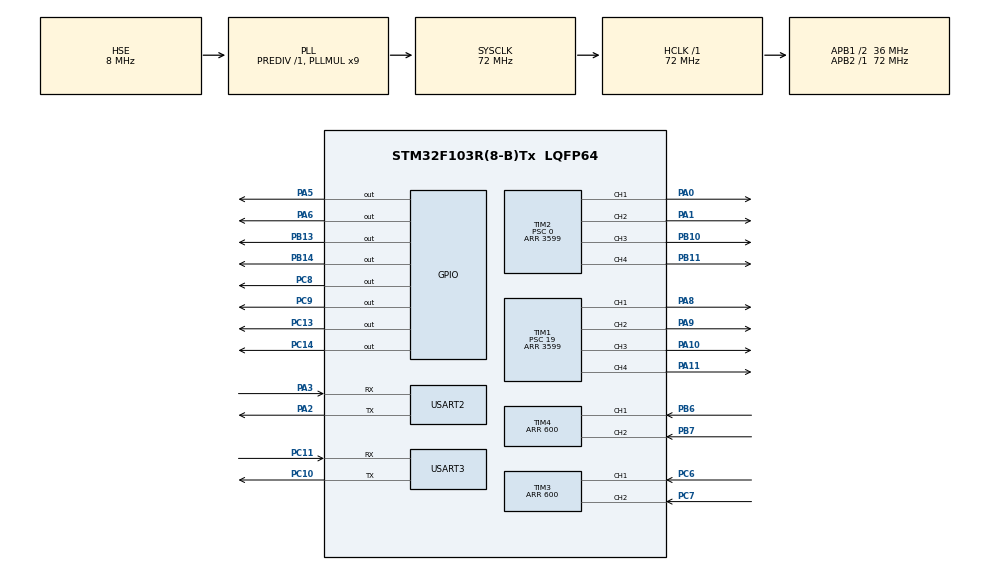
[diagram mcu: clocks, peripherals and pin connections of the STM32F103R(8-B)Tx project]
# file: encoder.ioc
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Mcu.Family=STM32F1
Mcu.Name=STM32F103R(8-B)Tx
Mcu.Package=LQFP64
NVIC.PriorityGroup=NVIC_PRIORITYGROUP_4
NVIC.TIM3_IRQn=true\:0\:0\:true\:false\:true\:true\:true\:true
NVIC.USART2_IRQn=true\:1\:0\:false\:false\:true\:true\:true\:true
NVIC.USART3_IRQn=true\:1\:0\:false\:false\:true\:true\:true\:true
PA0-WKUP.Signal=S_TIM2_CH1_ETR
PA1.Signal=S_TIM2_CH2
PA10.Signal=S_TIM1_CH3
PA11.Signal=S_TIM1_CH4
PA13.Mode=Serial_Wire
PA13.Signal=SYS_JTMS-SWDIO
PA14.Mode=Serial_Wire
PA14.Signal=SYS_JTCK-SWCLK
PA2.Mode=Asynchronous
PA2.Signal=USART2_TX
PA3.Mode=Asynchronous
PA3.Signal=USART2_RX
PA5.Signal=GPIO_Output
PA6.Signal=GPIO_Output
PA8.Signal=S_TIM1_CH1
PA9.Signal=S_TIM1_CH2
PB10.Signal=S_TIM2_CH3
PB11.Signal=S_TIM2_CH4
PB13.Signal=GPIO_Output
PB14.Signal=GPIO_Output
PB6.GPIO_PuPd=GPIO_PULLUP
PB6.Signal=S_TIM4_CH1
PB7.GPIO_PuPd=GPIO_PULLUP
PB7.Signal=S_TIM4_CH2
PC10.Mode=Asynchronous
PC10.Signal=USART3_TX
PC11.Mode=Asynchronous
PC11.Signal=USART3_RX
PC13-TAMPER-RTC.Signal=GPIO_Output
PC14-OSC32_IN.Signal=GPIO_Output
PC6.GPIO_PuPd=GPIO_PULLUP
PC6.Signal=S_TIM3_CH1
PC7.GPIO_PuPd=GPIO_PULLUP
PC7.Signal=S_TIM3_CH2
PC8.Signal=GPIO_Output
PC9.Signal=GPIO_Output
PD0-OSC_IN.Mode=HSE-External-Clock-Source
PD0-OSC_IN.Signal=RCC_OSC_IN
PD1-OSC_OUT.Mode=HSE-External-Clock-Source
PD1-OSC_OUT.Signal=RCC_OSC_OUT
ProjectManager.HeapSize=0x200
ProjectManager.StackSize=0x400
ProjectManager.TargetToolchain=STM32CubeIDE
RCC.AHBFreq_Value=72000000
RCC.APB1CLKDivider=RCC_HCLK_DIV2
RCC.APB1Freq_Value=36000000
RCC.APB1TimFreq_Value=72000000
RCC.APB2Freq_Value=72000000
RCC.APB2TimFreq_Value=72000000
RCC.EnbaleCSS=true
RCC.HCLKFreq_Value=72000000
RCC.PLLMUL=RCC_PLL_MUL9
RCC.PLLSourceVirtual=RCC_PLLSOURCE_HSE
RCC.SYSCLKFreq_VALUE=72000000
RCC.SYSCLKSource=RCC_SYSCLKSOURCE_PLLCLK
RCC.USBFreq_Value=72000000
SH.S_TIM1_CH1.0=TIM1_CH1,PWM Generation1 CH1
SH.S_TIM1_CH2.0=TIM1_CH2,PWM Generation2 CH2
SH.S_TIM1_CH3.0=TIM1_CH3,PWM Generation3 CH3
SH.S_TIM1_CH4.0=TIM1_CH4,PWM Generation4 CH4
SH.S_TIM2_CH1_ETR.0=TIM2_CH1,PWM Generation1 CH1
SH.S_TIM2_CH2.0=TIM2_CH2,PWM Generation2 CH2
SH.S_TIM2_CH3.0=TIM2_CH3,PWM Generation3 CH3
SH.S_TIM2_CH4.0=TIM2_CH4,PWM Generation4 CH4
SH.S_TIM3_CH1.0=TIM3_CH1,Encoder_Interface
SH.S_TIM3_CH2.0=TIM3_CH2,Encoder_Interface
SH.S_TIM4_CH1.0=TIM4_CH1,Encoder_Interface
SH.S_TIM4_CH2.0=TIM4_CH2,Encoder_Interface
TIM1.Channel-PWM\ Generation1\ CH1=TIM_CHANNEL_1
TIM1.Channel-PWM\ Generation2\ CH2=TIM_CHANNEL_2
TIM1.Channel-PWM\ Generation3\ CH3=TIM_CHANNEL_3
TIM1.Channel-PWM\ Generation4\ CH4=TIM_CHANNEL_4
TIM1.Period=3599
TIM1.Prescaler=19
TIM1.Pulse-PWM\ Generation1\ CH1=0
TIM2.Channel-PWM\ Generation1\ CH1=TIM_CHANNEL_1
TIM2.Channel-PWM\ Generation2\ CH2=TIM_CHANNEL_2
TIM2.Channel-PWM\ Generation3\ CH3=TIM_CHANNEL_3
TIM2.Channel-PWM\ Generation4\ CH4=TIM_CHANNEL_4
TIM2.Period=3599
TIM2.Prescaler=0
TIM3.IC1Filter=4
TIM3.IC2Filter=4
TIM3.Period=600
TIM4.EncoderMode=TIM_ENCODERMODE_TI12
TIM4.IC1Filter=4
TIM4.IC2Filter=4
TIM4.Period=600
USART2.VirtualMode=VM_ASYNC
USART3.VirtualMode=VM_ASYNC
VP_TIM1_VS_ClockSourceINT.Mode=Internal
VP_TIM2_VS_ClockSourceINT.Mode=Internal
board=custom

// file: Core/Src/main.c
/* USER CODE BEGIN Header */
/**
  ******************************************************************************
  * @file           : main.c
  * @brief          : Main program body
  ******************************************************************************
  * @attention
  *
  * Copyright (c) 2026 STMicroelectronics.
  * All rights reserved.
  *
  * This software is licensed under terms that can be found in the LICENSE file
  * in the root directory of this software component.
  * If no LICENSE file comes with this software, it is provided AS-IS.
  *
  ******************************************************************************
  */
/* USER CODE END Header */
#include "main.h"

/* USER CODE BEGIN PTD */
typedef enum
{
  MISSION_IDLE,
  INITIAL_SCAN,
  WAIT_CAPTURE_ACK,
  RETURNING,
  REALTIME_CLEANING,
  ACTUATOR_TEST,
  RESCAN_RETURN,
  RESCAN,
  MISSION_DONE,
  MISSION_FAULT
} MissionState;

typedef enum
{
  ACTUATOR_COMMAND_NONE,
  ACTUATOR_COMMAND_ON,
  ACTUATOR_COMMAND_OFF,
  ACTUATOR_COMMAND_CLEANER_PWM_33_3,
  ACTUATOR_COMMAND_CLEANER_PWM_55_6
} ActuatorCommand;

typedef enum
{
  UART_COMMAND_NONE,
  UART_COMMAND_START,
  UART_COMMAND_CAPTURE_OK,
  UART_COMMAND_ACTUATOR_TEST_START,
  UART_COMMAND_ACTUATOR_TEST_STOP,
  UART_COMMAND_FRONT_CLEANER_PWM_33_3,
  UART_COMMAND_FRONT_CLEANER_PWM_55_6,
  UART_COMMAND_FRONT_CLEANER_OFF,
  UART_COMMAND_FRONT_PUMP_ON,
  UART_COMMAND_FRONT_PUMP_OFF,
  UART_COMMAND_SIDE_CLEANER_PWM_33_3,
  UART_COMMAND_SIDE_CLEANER_PWM_55_6,
  UART_COMMAND_SIDE_CLEANER_OFF,
  UART_COMMAND_SIDE_PUMP_ON,
  UART_COMMAND_SIDE_PUMP_OFF,
  UART_COMMAND_COUNT
} UartCommand;

typedef enum
{
  UART_MESSAGE_STARTED,
  UART_MESSAGE_ACTUATOR_TEST_READY,
  UART_MESSAGE_CAMERA_CAPTURE,
  UART_MESSAGE_RETURN_START,
  UART_MESSAGE_REALTIME_START,
  UART_MESSAGE_RESCAN_RETURN_START,
  UART_MESSAGE_RESCAN_START,
  UART_MESSAGE_RESCAN_DONE,
  UART_MESSAGE_DONE,
  UART_MESSAGE_COUNT
} UartMessage;

typedef struct
{
  const char *text;
  uint16_t length;
} UartText;

typedef struct
{
  volatile int event;
  volatile int limit;
  int motor_direction;
} EncoderContext;

typedef struct
{
  volatile MissionState state;
  MissionState capture_resume_state;
} MissionContext;

typedef struct
{
  volatile uint32_t pending_commands;
  uint8_t match_index[UART_COMMAND_COUNT];
  volatile int rearm_required;
  uint8_t rx_byte;
} UartContext;

typedef struct
{
  volatile ActuatorCommand pending_command;
  volatile int active;
  volatile int hw_ready;
  volatile int last_on_tick;
} ActuatorContext;

typedef struct
{
  EncoderContext encoder;
  MissionContext mission;
  UartContext uart;
  ActuatorContext front_cleaner;
  ActuatorContext front_pump;
  ActuatorContext side_cleaner;
  ActuatorContext side_pump;
} RobotContext;
/* USER CODE END PTD */

/* USER CODE BEGIN PD */
#define PWM_DUTY 1600 /* Motor 2/base: 44.4%; motor 1: 47.1% after the 106% trim. */
#define LIVE_PWM_DUTY 800 /* Realtime motor 2/base: 22.2%; motor 1: 23.6% after the 106% trim. */
#define DC_MOTOR_PWM_DUTY_33_3 1200 /* raw TIM1 duty 33.3% */
#define DC_MOTOR_PWM_DUTY_55_6 2000 /* raw TIM1 duty 55.6% */
#define WATER_PUMP_PWM_DUTY 3000 /* raw TIM1 duty 83.3% (3600-count period). */
#define CLEANER_COMMAND_TIMEOUT_MS 1000
#define PUMP_COMMAND_TIMEOUT_MS 1000
#define ENCODER_SECTION_LIMIT 4
#define MOTOR_DIRECTION_FORWARD 1
#define MOTOR_DIRECTION_REVERSE -1
#define MOTOR_DIRECTION_STOPPED 0
#define ENCODER_1_DRIVE_PWM_PERCENT 106

/* Actuator hardware mapping follows the physical FRONT/SIDE wiring. */
#define FRONT_CLEANER_TIM_CHANNEL TIM_CHANNEL_4
#define FRONT_CLEANER_GPIO_PORT GPIOB
#define FRONT_CLEANER_IN1_PIN GPIO_PIN_13
#define FRONT_CLEANER_IN2_PIN GPIO_PIN_14

#define FRONT_WATER_PUMP_TIM_CHANNEL TIM_CHANNEL_1
#define FRONT_WATER_PUMP_GPIO_PORT GPIOA
#define FRONT_WATER_PUMP_IN1_PIN GPIO_PIN_5
#define FRONT_WATER_PUMP_IN2_PIN GPIO_PIN_6

#define SIDE_CLEANER_TIM_CHANNEL TIM_CHANNEL_2
#define SIDE_CLEANER_GPIO_PORT GPIOC
#define SIDE_CLEANER_IN1_PIN GPIO_PIN_13
#define SIDE_CLEANER_IN2_PIN GPIO_PIN_14

#define SIDE_WATER_PUMP_TIM_CHANNEL TIM_CHANNEL_3
#define SIDE_WATER_PUMP_GPIO_PORT GPIOC
#define SIDE_WATER_PUMP_IN1_PIN GPIO_PIN_8
#define SIDE_WATER_PUMP_IN2_PIN GPIO_PIN_9

/* USER CODE END PD */

TIM_HandleTypeDef htim1;
TIM_HandleTypeDef htim2;
TIM_HandleTypeDef htim3;
TIM_HandleTypeDef htim4;

UART_HandleTypeDef huart2;
UART_HandleTypeDef huart3;

/* USER CODE BEGIN PV */
static RobotContext robot;
static const UartText uart_command_table[UART_COMMAND_COUNT] =
{
  [UART_COMMAND_NONE] = {NULL, 0U},
  [UART_COMMAND_START] = {"START\r\n", (uint16_t)(sizeof("START\r\n") - 1U)},
  [UART_COMMAND_CAPTURE_OK] = {"CAPTURE_OK\r\n", (uint16_t)(sizeof("CAPTURE_OK\r\n") - 1U)},
  [UART_COMMAND_ACTUATOR_TEST_START] = {"ACTUATOR_TEST_START\r\n", (uint16_t)(sizeof("ACTUATOR_TEST_START\r\n") - 1U)},
  [UART_COMMAND_ACTUATOR_TEST_STOP] = {"ACTUATOR_TEST_STOP\r\n", (uint16_t)(sizeof("ACTUATOR_TEST_STOP\r\n") - 1U)},
  [UART_COMMAND_FRONT_CLEANER_PWM_33_3] = {"FRONT_CLEANER_PWM_33_3\r\n", (uint16_t)(sizeof("FRONT_CLEANER_PWM_33_3\r\n") - 1U)},
  [UART_COMMAND_FRONT_CLEANER_PWM_55_6] = {"FRONT_CLEANER_PWM_55_6\r\n", (uint16_t)(sizeof("FRONT_CLEANER_PWM_55_6\r\n") - 1U)},
  [UART_COMMAND_FRONT_CLEANER_OFF] = {"FRONT_CLEANER_OFF\r\n", (uint16_t)(sizeof("FRONT_CLEANER_OFF\r\n") - 1U)},
  [UART_COMMAND_FRONT_PUMP_ON] = {"FRONT_PUMP_ON\r\n", (uint16_t)(sizeof("FRONT_PUMP_ON\r\n") - 1U)},
  [UART_COMMAND_FRONT_PUMP_OFF] = {"FRONT_PUMP_OFF\r\n", (uint16_t)(sizeof("FRONT_PUMP_OFF\r\n") - 1U)},
  [UART_COMMAND_SIDE_CLEANER_PWM_33_3] = {"SIDE_CLEANER_PWM_33_3\r\n", (uint16_t)(sizeof("SIDE_CLEANER_PWM_33_3\r\n") - 1U)},
  [UART_COMMAND_SIDE_CLEANER_PWM_55_6] = {"SIDE_CLEANER_PWM_55_6\r\n", (uint16_t)(sizeof("SIDE_CLEANER_PWM_55_6\r\n") - 1U)},
  [UART_COMMAND_SIDE_CLEANER_OFF] = {"SIDE_CLEANER_OFF\r\n", (uint16_t)(sizeof("SIDE_CLEANER_OFF\r\n") - 1U)},
  [UART_COMMAND_SIDE_PUMP_ON] = {"SIDE_PUMP_ON\r\n", (uint16_t)(sizeof("SIDE_PUMP_ON\r\n") - 1U)},
  [UART_COMMAND_SIDE_PUMP_OFF] = {"SIDE_PUMP_OFF\r\n", (uint16_t)(sizeof("SIDE_PUMP_OFF\r\n") - 1U)}
};

static const UartText uart_message_table[UART_MESSAGE_COUNT] =
{
  [UART_MESSAGE_STARTED] = {"STARTED\r\n", (uint16_t)(sizeof("STARTED\r\n") - 1U)},
  [UART_MESSAGE_ACTUATOR_TEST_READY] = {"ACTUATOR_TEST_READY\r\n", (uint16_t)(sizeof("ACTUATOR_TEST_READY\r\n") - 1U)},
  [UART_MESSAGE_CAMERA_CAPTURE] = {"CAMERA_CAPTURE\r\n", (uint16_t)(sizeof("CAMERA_CAPTURE\r\n") - 1U)},
  [UART_MESSAGE_RETURN_START] = {"RETURN_START\r\n", (uint16_t)(sizeof("RETURN_START\r\n") - 1U)},
  [UART_MESSAGE_REALTIME_START] = {"REALTIME_START\r\n", (uint16_t)(sizeof("REALTIME_START\r\n") - 1U)},
  [UART_MESSAGE_RESCAN_RETURN_START] = {"RESCAN_RETURN_START\r\n", (uint16_t)(sizeof("RESCAN_RETURN_START\r\n") - 1U)},
  [UART_MESSAGE_RESCAN_START] = {"RESCAN_START\r\n", (uint16_t)(sizeof("RESCAN_START\r\n") - 1U)},
  [UART_MESSAGE_RESCAN_DONE] = {"RESCAN_DONE\r\n", (uint16_t)(sizeof("RESCAN_DONE\r\n") - 1U)},
  [UART_MESSAGE_DONE] = {"DONE\r\n", (uint16_t)(sizeof("DONE\r\n") - 1U)}
};

/* USER CODE END PV */

void SystemClock_Config(void);
static void MX_GPIO_Init(void);
static void MX_TIM1_Init(void);
static void MX_TIM3_Init(void);
static void MX_USART3_UART_Init(void);
static void MX_TIM2_Init(void);
static void MX_USART2_UART_Init(void);
static void MX_TIM4_Init(void);

/* USER CODE BEGIN 0 */
static void Cleaner_StopHardware(ActuatorContext *actuator,
                                 uint32_t tim_channel,
                                 GPIO_TypeDef *gpio_port,
                                 uint16_t in1_pin,
                                 uint16_t in2_pin)
{
  if (actuator->hw_ready != 0)
  {
    __HAL_TIM_SET_COMPARE(&htim1, tim_channel, 0);
    HAL_GPIO_WritePin(gpio_port, in1_pin | in2_pin, GPIO_PIN_RESET);
  }
  actuator->active = 0;
}

static void Cleaner_RunHardware(ActuatorContext *actuator,
                                uint32_t tim_channel,
                                GPIO_TypeDef *gpio_port,
                                uint16_t in1_pin,
                                uint16_t in2_pin,
                                uint16_t pwm_duty)
{
  if (actuator->hw_ready == 0)
  {
    return;
  }

  if (actuator->active == 0)
  {
    /* Select direction only while this role's PWM output is at zero. */
    __HAL_TIM_SET_COMPARE(&htim1, tim_channel, 0);
    HAL_GPIO_WritePin(gpio_port, in1_pin | in2_pin, GPIO_PIN_RESET);
    HAL_GPIO_WritePin(gpio_port, in1_pin, GPIO_PIN_SET);
  }
  __HAL_TIM_SET_COMPARE(&htim1, tim_channel, pwm_duty);
  actuator->active = 1;
}

static void Pump_StopHardware(ActuatorContext *actuator,
                              uint32_t tim_channel,
                              GPIO_TypeDef *gpio_port,
                              uint16_t in1_pin,
                              uint16_t in2_pin)
{
  if (actuator->hw_ready != 0)
  {
    __HAL_TIM_SET_COMPARE(&htim1, tim_channel, 0);
    HAL_GPIO_WritePin(gpio_port, in1_pin | in2_pin, GPIO_PIN_RESET);
  }
  actuator->active = 0;
}

static void Pump_StartHardware(ActuatorContext *actuator,
                               uint32_t tim_channel,
                               GPIO_TypeDef *gpio_port,
                               uint16_t in1_pin,
                               uint16_t in2_pin)
{
  if (actuator->hw_ready == 0)
  {
    return;
  }

  if (actuator->active == 0)
  {
    /* Select direction only while this role's PWM output is at zero. */
    __HAL_TIM_SET_COMPARE(&htim1, tim_channel, 0);
    HAL_GPIO_WritePin(gpio_port, in1_pin | in2_pin, GPIO_PIN_RESET);
    HAL_GPIO_WritePin(gpio_port, in1_pin, GPIO_PIN_SET);
  }
  __HAL_TIM_SET_COMPARE(&htim1, tim_channel, WATER_PUMP_PWM_DUTY);
  actuator->active = 1;
}

static void Front_Cleaner_Stop(void)
{
  Cleaner_StopHardware(&robot.front_cleaner, FRONT_CLEANER_TIM_CHANNEL,
                       FRONT_CLEANER_GPIO_PORT, FRONT_CLEANER_IN1_PIN,
                       FRONT_CLEANER_IN2_PIN);
}

static void Front_Cleaner_Run(uint16_t pwm_duty)
{
  Cleaner_RunHardware(&robot.front_cleaner, FRONT_CLEANER_TIM_CHANNEL,
                      FRONT_CLEANER_GPIO_PORT, FRONT_CLEANER_IN1_PIN,
                      FRONT_CLEANER_IN2_PIN, pwm_duty);
}

static void Front_Pump_Stop(void)
{
  Pump_StopHardware(&robot.front_pump, FRONT_WATER_PUMP_TIM_CHANNEL,
                    FRONT_WATER_PUMP_GPIO_PORT, FRONT_WATER_PUMP_IN1_PIN,
                    FRONT_WATER_PUMP_IN2_PIN);
}

static void Front_Pump_Start(void)
{
  Pump_StartHardware(&robot.front_pump, FRONT_WATER_PUMP_TIM_CHANNEL,
                     FRONT_WATER_PUMP_GPIO_PORT, FRONT_WATER_PUMP_IN1_PIN,
                     FRONT_WATER_PUMP_IN2_PIN);
}

static void Side_Cleaner_Stop(void)
{
  Cleaner_StopHardware(&robot.side_cleaner, SIDE_CLEANER_TIM_CHANNEL,
                       SIDE_CLEANER_GPIO_PORT, SIDE_CLEANER_IN1_PIN,
                       SIDE_CLEANER_IN2_PIN);
}

static void Side_Cleaner_Run(uint16_t pwm_duty)
{
  Cleaner_RunHardware(&robot.side_cleaner, SIDE_CLEANER_TIM_CHANNEL,
                      SIDE_CLEANER_GPIO_PORT, SIDE_CLEANER_IN1_PIN,
                      SIDE_CLEANER_IN2_PIN, pwm_duty);
}

static void Side_Pump_Stop(void)
{
  Pump_StopHardware(&robot.side_pump, SIDE_WATER_PUMP_TIM_CHANNEL,
                    SIDE_WATER_PUMP_GPIO_PORT, SIDE_WATER_PUMP_IN1_PIN,
                    SIDE_WATER_PUMP_IN2_PIN);
}

static void Side_Pump_Start(void)
{
  Pump_StartHardware(&robot.side_pump, SIDE_WATER_PUMP_TIM_CHANNEL,
                     SIDE_WATER_PUMP_GPIO_PORT, SIDE_WATER_PUMP_IN1_PIN,
                     SIDE_WATER_PUMP_IN2_PIN);
}

static void CleaningActuators_StopAll(void)
{
  Front_Cleaner_Stop();
  Front_Pump_Stop();
  Side_Cleaner_Stop();
  Side_Pump_Stop();
}

static int Actuator_ControlIsAllowed(void)
{
  return (((robot.mission.state == REALTIME_CLEANING) ||
           (robot.mission.state == ACTUATOR_TEST)) &&
          (robot.encoder.event == 0));
}

static void Actuator_QueueCommand(ActuatorContext *actuator,
                                  ActuatorCommand command)
{
  uint32_t primask = __get_PRIMASK();

  /* Keep the OFF latch atomic against UART ISR updates. */
  __disable_irq();
  /* OFF stays latched until main consumes it; later ON cannot overwrite it. */
  if ((command == ACTUATOR_COMMAND_OFF) ||
      (actuator->pending_command != ACTUATOR_COMMAND_OFF))
  {
    actuator->pending_command = command;
  }
  if (primask == 0U)
  {
    __enable_irq();
  }
}

static ActuatorCommand Actuator_TakePendingCommand(
    ActuatorContext *actuator)
{
  uint32_t primask;
  ActuatorCommand command;

  if (actuator->pending_command == ACTUATOR_COMMAND_NONE)
  {
    return ACTUATOR_COMMAND_NONE;
  }

  primask = __get_PRIMASK();
  /* Read-and-clear atomically against UART ISR command updates. */
  __disable_irq();
  command = actuator->pending_command;
  actuator->pending_command = ACTUATOR_COMMAND_NONE;
  if (primask == 0U)
  {
    __enable_irq();
  }

  return command;
}

static void Motor_Stop(void)
{
  if (htim2.Instance == TIM2)
  {
    __HAL_TIM_SET_COMPARE(&htim2, TIM_CHANNEL_1, 0);
    __HAL_TIM_SET_COMPARE(&htim2, TIM_CHANNEL_2, 0);
    __HAL_TIM_SET_COMPARE(&htim2, TIM_CHANNEL_3, 0);
    __HAL_TIM_SET_COMPARE(&htim2, TIM_CHANNEL_4, 0);
  }
}

static void Motor_Run(int direction, int pwm_duty)
{
  int encoder_1_pwm_duty =
      (pwm_duty * ENCODER_1_DRIVE_PWM_PERCENT + 50) / 100;

  Motor_Stop();

  if (direction > 0)
  {
    /* Encoder drive 1 is wired with opposite polarity and has a 6% PWM trim. */
    __HAL_TIM_SET_COMPARE(&htim2, TIM_CHANNEL_2, encoder_1_pwm_duty);
    __HAL_TIM_SET_COMPARE(&htim2, TIM_CHANNEL_3, pwm_duty);
  }
  else if (direction < 0)
  {
    __HAL_TIM_SET_COMPARE(&htim2, TIM_CHANNEL_1, encoder_1_pwm_duty);
    __HAL_TIM_SET_COMPARE(&htim2, TIM_CHANNEL_4, pwm_duty);
  }
}

static void Motor_StartNextEncoderSection(int direction, int pwm_duty)
{
  if ((direction == MOTOR_DIRECTION_STOPPED) ||
      (robot.mission.state == WAIT_CAPTURE_ACK))
  {
    Motor_Stop();
    return;
  }

  /* Forward must count up on TIM3; reverse then counts down. */
  __HAL_TIM_DISABLE_IT(&htim3, TIM_IT_UPDATE);

  if (direction > 0)
  {
    __HAL_TIM_SET_COUNTER(&htim3, 0);
  }
  else
  {
    __HAL_TIM_SET_COUNTER(&htim3, __HAL_TIM_GET_AUTORELOAD(&htim3));
  }

  __HAL_TIM_CLEAR_FLAG(&htim3, TIM_FLAG_UPDATE);
  HAL_NVIC_ClearPendingIRQ(TIM3_IRQn);

  Motor_Run(direction, pwm_duty);

  __HAL_TIM_ENABLE_IT(&htim3, TIM_IT_UPDATE);
}

static void UART_QueueCommand(UartCommand command)
{
  uint32_t command_bit;

  if ((command <= UART_COMMAND_NONE) || (command >= UART_COMMAND_COUNT))
  {
    return;
  }

  if ((((command == UART_COMMAND_FRONT_CLEANER_PWM_33_3) ||
        (command == UART_COMMAND_FRONT_CLEANER_PWM_55_6)) &&
       ((robot.uart.pending_commands &
         (1UL << UART_COMMAND_FRONT_CLEANER_OFF)) != 0U)) ||
      ((command == UART_COMMAND_FRONT_PUMP_ON) &&
       ((robot.uart.pending_commands &
         (1UL << UART_COMMAND_FRONT_PUMP_OFF)) != 0U)) ||
      (((command == UART_COMMAND_SIDE_CLEANER_PWM_33_3) ||
        (command == UART_COMMAND_SIDE_CLEANER_PWM_55_6)) &&
       ((robot.uart.pending_commands &
         (1UL << UART_COMMAND_SIDE_CLEANER_OFF)) != 0U)) ||
      ((command == UART_COMMAND_SIDE_PUMP_ON) &&
       ((robot.uart.pending_commands &
         (1UL << UART_COMMAND_SIDE_PUMP_OFF)) != 0U)))
  {
    return;
  }

  switch (command)
  {
    case UART_COMMAND_ACTUATOR_TEST_START:
    case UART_COMMAND_ACTUATOR_TEST_STOP:
      /* Test mode transitions supersede queued motion/actuator commands. */
      robot.uart.pending_commands = 0U;
      break;

    case UART_COMMAND_FRONT_PUMP_ON:
    case UART_COMMAND_SIDE_PUMP_ON:
    case UART_COMMAND_START:
    case UART_COMMAND_CAPTURE_OK:
      break;

    case UART_COMMAND_FRONT_CLEANER_OFF:
      robot.uart.pending_commands &=
          ~(1UL << UART_COMMAND_FRONT_CLEANER_PWM_33_3);
      robot.uart.pending_commands &=
          ~(1UL << UART_COMMAND_FRONT_CLEANER_PWM_55_6);
      break;

    case UART_COMMAND_FRONT_CLEANER_PWM_33_3:
    case UART_COMMAND_FRONT_CLEANER_PWM_55_6:
      robot.uart.pending_commands &=
          ~(1UL << UART_COMMAND_FRONT_CLEANER_PWM_33_3);
      robot.uart.pending_commands &=
          ~(1UL << UART_COMMAND_FRONT_CLEANER_PWM_55_6);
      break;

    case UART_COMMAND_FRONT_PUMP_OFF:
      robot.uart.pending_commands &= ~(1UL << UART_COMMAND_FRONT_PUMP_ON);
      break;

    case UART_COMMAND_SIDE_CLEANER_OFF:
      robot.uart.pending_commands &=
          ~(1UL << UART_COMMAND_SIDE_CLEANER_PWM_33_3);
      robot.uart.pending_commands &=
          ~(1UL << UART_COMMAND_SIDE_CLEANER_PWM_55_6);
      break;

    case UART_COMMAND_SIDE_CLEANER_PWM_33_3:
    case UART_COMMAND_SIDE_CLEANER_PWM_55_6:
      robot.uart.pending_commands &=
          ~(1UL << UART_COMMAND_SIDE_CLEANER_PWM_33_3);
      robot.uart.pending_commands &=
          ~(1UL << UART_COMMAND_SIDE_CLEANER_PWM_55_6);
      break;

    case UART_COMMAND_SIDE_PUMP_OFF:
      robot.uart.pending_commands &= ~(1UL << UART_COMMAND_SIDE_PUMP_ON);
      break;

    case UART_COMMAND_NONE:
    case UART_COMMAND_COUNT:
    default:
      return;
  }

  command_bit = 1UL << (uint32_t)command;
  robot.uart.pending_commands |= command_bit;
}

static UartCommand UART_TakePendingCommand(void)
{
  uint32_t primask;
  uint32_t command_bit = 0U;
  UartCommand command = UART_COMMAND_NONE;

  primask = __get_PRIMASK();
  __disable_irq();

  if ((robot.uart.pending_commands &
       (1UL << UART_COMMAND_ACTUATOR_TEST_STOP)) != 0U)
  {
    command = UART_COMMAND_ACTUATOR_TEST_STOP;
  }
  else if ((robot.uart.pending_commands &
       (1UL << UART_COMMAND_FRONT_CLEANER_OFF)) != 0U)
  {
    command = UART_COMMAND_FRONT_CLEANER_OFF;
  }
  else if ((robot.uart.pending_commands &
            (1UL << UART_COMMAND_FRONT_PUMP_OFF)) != 0U)
  {
    command = UART_COMMAND_FRONT_PUMP_OFF;
  }
  else if ((robot.uart.pending_commands &
            (1UL << UART_COMMAND_SIDE_CLEANER_OFF)) != 0U)
  {
    command = UART_COMMAND_SIDE_CLEANER_OFF;
  }
  else if ((robot.uart.pending_commands &
            (1UL << UART_COMMAND_SIDE_PUMP_OFF)) != 0U)
  {
    command = UART_COMMAND_SIDE_PUMP_OFF;
  }
  else if ((robot.uart.pending_commands &
            (1UL << UART_COMMAND_ACTUATOR_TEST_START)) != 0U)
  {
    command = UART_COMMAND_ACTUATOR_TEST_START;
  }
  else if ((robot.uart.pending_commands &
            (1UL << UART_COMMAND_CAPTURE_OK)) != 0U)
  {
    command = UART_COMMAND_CAPTURE_OK;
  }
  else if ((robot.uart.pending_commands &
            (1UL << UART_COMMAND_START)) != 0U)
  {
    command = UART_COMMAND_START;
  }
  else if ((robot.uart.pending_commands &
            (1UL << UART_COMMAND_FRONT_CLEANER_PWM_55_6)) != 0U)
  {
    command = UART_COMMAND_FRONT_CLEANER_PWM_55_6;
  }
  else if ((robot.uart.pending_commands &
            (1UL << UART_COMMAND_FRONT_CLEANER_PWM_33_3)) != 0U)
  {
    command = UART_COMMAND_FRONT_CLEANER_PWM_33_3;
  }
  else if ((robot.uart.pending_commands &
            (1UL << UART_COMMAND_FRONT_PUMP_ON)) != 0U)
  {
    command = UART_COMMAND_FRONT_PUMP_ON;
  }
  else if ((robot.uart.pending_commands &
            (1UL << UART_COMMAND_SIDE_CLEANER_PWM_55_6)) != 0U)
  {
    command = UART_COMMAND_SIDE_CLEANER_PWM_55_6;
  }
  else if ((robot.uart.pending_commands &
            (1UL << UART_COMMAND_SIDE_CLEANER_PWM_33_3)) != 0U)
  {
    command = UART_COMMAND_SIDE_CLEANER_PWM_33_3;
  }
  else if ((robot.uart.pending_commands &
            (1UL << UART_COMMAND_SIDE_PUMP_ON)) != 0U)
  {
    command = UART_COMMAND_SIDE_PUMP_ON;
  }

  if (command != UART_COMMAND_NONE)
  {
    command_bit = 1UL << (uint32_t)command;
    robot.uart.pending_commands &= ~command_bit;
  }

  if (primask == 0U)
  {
    __enable_irq();
  }

  return command;
}

static void UART_QueueFailSafeAllOff(void)
{
  uint32_t primask = __get_PRIMASK();

  __disable_irq();
  robot.uart.pending_commands = 0U;
  Actuator_QueueCommand(&robot.front_cleaner, ACTUATOR_COMMAND_OFF);
  Actuator_QueueCommand(&robot.front_pump, ACTUATOR_COMMAND_OFF);
  Actuator_QueueCommand(&robot.side_cleaner, ACTUATOR_COMMAND_OFF);
  Actuator_QueueCommand(&robot.side_pump, ACTUATOR_COMMAND_OFF);
  if (primask == 0U)
  {
    __enable_irq();
  }
}

static void UART_ParseByte(uint8_t byte)
{
  UartCommand command;

  for (command = UART_COMMAND_START;
       command < UART_COMMAND_COUNT;
       command = (UartCommand)((int)command + 1))
  {
    const UartText *definition = &uart_command_table[command];
    uint8_t match_index = robot.uart.match_index[command];

    if (((command == UART_COMMAND_START) &&
         (robot.mission.state != MISSION_IDLE)) ||
        ((command == UART_COMMAND_CAPTURE_OK) &&
         (robot.mission.state != WAIT_CAPTURE_ACK)) ||
        ((command == UART_COMMAND_ACTUATOR_TEST_START) &&
         (robot.mission.state != MISSION_IDLE)) ||
        ((command == UART_COMMAND_ACTUATOR_TEST_STOP) &&
         (robot.mission.state != ACTUATOR_TEST)))
    {
      robot.uart.match_index[command] = 0U;
      continue;
    }

    if (byte == (uint8_t)definition->text[match_index])
    {
      match_index++;
      if (match_index >= definition->length)
      {
        match_index = 0U;
        UART_QueueCommand(command);
      }
    }
    else if (byte == (uint8_t)definition->text[0])
    {
      match_index = 1U;
    }
    else
    {
      match_index = 0U;
    }

    robot.uart.match_index[command] = match_index;
  }
}

static void UART_ResetMatchers(void)
{
  UartCommand command;

  for (command = UART_COMMAND_START;
       command < UART_COMMAND_COUNT;
       command = (UartCommand)((int)command + 1))
  {
    robot.uart.match_index[command] = 0U;
  }
}

static void UART_SendMessage(UartMessage message)
{
  const UartText *entry;

  if (message >= UART_MESSAGE_COUNT)
  {
    Error_Handler();
  }

  entry = &uart_message_table[message];
  if (HAL_UART_Transmit(&huart2, (const uint8_t *)entry->text,
                        entry->length, 100) != HAL_OK)
  {
    Error_Handler();
  }
}

static void Mission_SetState(MissionState next_state)
{
  MissionState previous_state = robot.mission.state;

  if (previous_state == next_state)
  {
    return;
  }

  if (next_state == WAIT_CAPTURE_ACK)
  {
    if ((previous_state != INITIAL_SCAN) && (previous_state != RESCAN))
    {
      next_state = MISSION_FAULT;
    }
    else
    {
      robot.mission.capture_resume_state = previous_state;
    }
  }

  robot.mission.state = next_state;
  /* Every mission transition starts from a known four-channel OFF state. */
  CleaningActuators_StopAll();

  switch (robot.mission.state)
  {
    case MISSION_IDLE:
      __HAL_TIM_DISABLE_IT(&htim3, TIM_IT_UPDATE);
      Motor_Stop();
      robot.encoder.motor_direction = MOTOR_DIRECTION_STOPPED;
      robot.encoder.event = 0;
      robot.encoder.limit = 0;
      robot.mission.capture_resume_state = INITIAL_SCAN;
      break;

    case INITIAL_SCAN:
      if (previous_state == MISSION_IDLE)
      {
        robot.encoder.event = 0;
        robot.encoder.limit = 0;
        UART_SendMessage(UART_MESSAGE_STARTED);
      }
      robot.encoder.motor_direction = MOTOR_DIRECTION_FORWARD;
      Motor_StartNextEncoderSection(robot.encoder.motor_direction, PWM_DUTY);
      break;

    case WAIT_CAPTURE_ACK:
      __HAL_TIM_DISABLE_IT(&htim3, TIM_IT_UPDATE);
      Motor_Stop();
      UART_SendMessage(UART_MESSAGE_CAMERA_CAPTURE);
      break;

    case RETURNING:
      robot.encoder.limit = 0;
      robot.encoder.motor_direction = MOTOR_DIRECTION_REVERSE;
      UART_SendMessage(UART_MESSAGE_RETURN_START);
      Motor_StartNextEncoderSection(robot.encoder.motor_direction, PWM_DUTY);
      break;

    case REALTIME_CLEANING:
      robot.encoder.limit = 0;
      robot.encoder.motor_direction = MOTOR_DIRECTION_FORWARD;
      UART_SendMessage(UART_MESSAGE_REALTIME_START);
      Motor_StartNextEncoderSection(robot.encoder.motor_direction,
                                    LIVE_PWM_DUTY);
      break;

    case ACTUATOR_TEST:
      __HAL_TIM_DISABLE_IT(&htim3, TIM_IT_UPDATE);
      Motor_Stop();
      robot.encoder.motor_direction = MOTOR_DIRECTION_STOPPED;
      robot.encoder.event = 0;
      robot.encoder.limit = 0;
      UART_SendMessage(UART_MESSAGE_ACTUATOR_TEST_READY);
      break;

    case RESCAN_RETURN:
      robot.encoder.limit = 0;
      robot.encoder.motor_direction = MOTOR_DIRECTION_REVERSE;
      UART_SendMessage(UART_MESSAGE_RESCAN_RETURN_START);
      Motor_StartNextEncoderSection(robot.encoder.motor_direction, PWM_DUTY);
      break;

    case RESCAN:
      if (previous_state == RESCAN_RETURN)
      {
        robot.encoder.limit = 0;
        robot.encoder.motor_direction = MOTOR_DIRECTION_FORWARD;
        UART_SendMessage(UART_MESSAGE_RESCAN_START);
      }
      Motor_StartNextEncoderSection(robot.encoder.motor_direction, PWM_DUTY);
      break;

    case MISSION_DONE:
      __HAL_TIM_DISABLE_IT(&htim3, TIM_IT_UPDATE);
      Motor_Stop();
      robot.encoder.motor_direction = MOTOR_DIRECTION_STOPPED;
      UART_SendMessage(UART_MESSAGE_RESCAN_DONE);
      UART_SendMessage(UART_MESSAGE_DONE);
      break;

    case MISSION_FAULT:
    default:
      robot.mission.state = MISSION_FAULT;
      __HAL_TIM_DISABLE_IT(&htim3, TIM_IT_UPDATE);
      Motor_Stop();
      robot.encoder.motor_direction = MOTOR_DIRECTION_STOPPED;
      break;
  }
}

static void Mission_HandleUartCommand(UartCommand command)
{
  switch (command)
  {
    case UART_COMMAND_START:
      if (robot.mission.state == MISSION_IDLE)
      {
        Mission_SetState(INITIAL_SCAN);
      }
      break;

    case UART_COMMAND_CAPTURE_OK:
      if (robot.mission.state != WAIT_CAPTURE_ACK)
      {
        break;
      }

      if (robot.mission.capture_resume_state == INITIAL_SCAN)
      {
        if (robot.encoder.limit >= ENCODER_SECTION_LIMIT)
        {
          Mission_SetState(RETURNING);
        }
        else
        {
          Mission_SetState(INITIAL_SCAN);
        }
      }
      else if (robot.mission.capture_resume_state == RESCAN)
      {
        if (robot.encoder.limit >= ENCODER_SECTION_LIMIT)
        {
          Mission_SetState(MISSION_DONE);
        }
        else
        {
          Mission_SetState(RESCAN);
        }
      }
      else
      {
        Mission_SetState(MISSION_FAULT);
      }
      break;

    case UART_COMMAND_ACTUATOR_TEST_START:
      if (robot.mission.state == MISSION_IDLE)
      {
        /* Drop any commands sent before the READY handshake. */
        UART_QueueFailSafeAllOff();
        Mission_SetState(ACTUATOR_TEST);
      }
      break;

    case UART_COMMAND_ACTUATOR_TEST_STOP:
      if (robot.mission.state == ACTUATOR_TEST)
      {
        UART_QueueFailSafeAllOff();
        Mission_SetState(MISSION_IDLE);
      }
      break;

    case UART_COMMAND_FRONT_CLEANER_PWM_33_3:
      Actuator_QueueCommand(&robot.front_cleaner,
                            ACTUATOR_COMMAND_CLEANER_PWM_33_3);
      break;

    case UART_COMMAND_FRONT_CLEANER_PWM_55_6:
      Actuator_QueueCommand(&robot.front_cleaner,
                            ACTUATOR_COMMAND_CLEANER_PWM_55_6);
      break;

    case UART_COMMAND_FRONT_CLEANER_OFF:
      Actuator_QueueCommand(&robot.front_cleaner, ACTUATOR_COMMAND_OFF);
      break;

    case UART_COMMAND_FRONT_PUMP_ON:
      Actuator_QueueCommand(&robot.front_pump, ACTUATOR_COMMAND_ON);
      break;

    case UART_COMMAND_FRONT_PUMP_OFF:
      Actuator_QueueCommand(&robot.front_pump, ACTUATOR_COMMAND_OFF);
      break;

    case UART_COMMAND_SIDE_CLEANER_PWM_33_3:
      Actuator_QueueCommand(&robot.side_cleaner,
                            ACTUATOR_COMMAND_CLEANER_PWM_33_3);
      break;

    case UART_COMMAND_SIDE_CLEANER_PWM_55_6:
      Actuator_QueueCommand(&robot.side_cleaner,
                            ACTUATOR_COMMAND_CLEANER_PWM_55_6);
      break;

    case UART_COMMAND_SIDE_CLEANER_OFF:
      Actuator_QueueCommand(&robot.side_cleaner, ACTUATOR_COMMAND_OFF);
      break;

    case UART_COMMAND_SIDE_PUMP_ON:
      Actuator_QueueCommand(&robot.side_pump, ACTUATOR_COMMAND_ON);
      break;

    case UART_COMMAND_SIDE_PUMP_OFF:
      Actuator_QueueCommand(&robot.side_pump, ACTUATOR_COMMAND_OFF);
      break;

    case UART_COMMAND_NONE:
    case UART_COMMAND_COUNT:
    default:
      break;
  }
}

static void Mission_Update(void)
{
  UartCommand command;

  while ((command = UART_TakePendingCommand()) != UART_COMMAND_NONE)
  {
    Mission_HandleUartCommand(command);
  }

  switch (robot.mission.state)
  {
    case MISSION_IDLE:
      break;

    case INITIAL_SCAN:
      if (robot.encoder.event != 0)
      {
        robot.encoder.event = 0;
        robot.encoder.limit++;
        Mission_SetState(WAIT_CAPTURE_ACK);
      }
      break;

    case WAIT_CAPTURE_ACK:
      break;

    case RETURNING:
      if (robot.encoder.event != 0)
      {
        robot.encoder.event = 0;
        __HAL_TIM_DISABLE_IT(&htim3, TIM_IT_UPDATE);
        Motor_Stop();
        robot.encoder.limit++;

        if (robot.encoder.limit >= ENCODER_SECTION_LIMIT)
        {
          Mission_SetState(REALTIME_CLEANING);
        }
        else
        {
          Motor_StartNextEncoderSection(robot.encoder.motor_direction,
                                        PWM_DUTY);
        }
      }
      break;

    case REALTIME_CLEANING:
      if (robot.encoder.event != 0)
      {
        robot.encoder.event = 0;

        if (robot.encoder.limit >= ENCODER_SECTION_LIMIT)
        {
          __HAL_TIM_DISABLE_IT(&htim3, TIM_IT_UPDATE);
          Motor_Stop();
          Mission_SetState(RESCAN_RETURN);
        }
      }
      break;

    case ACTUATOR_TEST:
      /* This service state must never energize the drive motor. */
      __HAL_TIM_DISABLE_IT(&htim3, TIM_IT_UPDATE);
      Motor_Stop();
      robot.encoder.motor_direction = MOTOR_DIRECTION_STOPPED;
      robot.encoder.event = 0;
      break;

    case RESCAN_RETURN:
      if (robot.encoder.event != 0)
      {
        robot.encoder.event = 0;

        if (robot.encoder.limit >= ENCODER_SECTION_LIMIT)
        {
          __HAL_TIM_DISABLE_IT(&htim3, TIM_IT_UPDATE);
          Motor_Stop();
          Mission_SetState(RESCAN);
        }
      }
      break;

    case RESCAN:
      if (robot.encoder.event != 0)
      {
        robot.encoder.event = 0;
        robot.encoder.limit++;
        Mission_SetState(WAIT_CAPTURE_ACK);
      }
      break;

    case MISSION_DONE:
      Mission_SetState(MISSION_IDLE);
      break;

    case MISSION_FAULT:
      robot.uart.pending_commands = 0U;
      robot.encoder.event = 0;
      break;

    default:
      Mission_SetState(MISSION_FAULT);
      break;
  }
}

/* USER CODE END 0 */

int main(void)
{

  /* USER CODE BEGIN 1 */
  ActuatorCommand front_cleaner_command;
  ActuatorCommand front_pump_command;
  ActuatorCommand side_cleaner_command;
  ActuatorCommand side_pump_command;

  robot.encoder.motor_direction = MOTOR_DIRECTION_STOPPED;
  robot.mission.state = MISSION_IDLE;
  robot.mission.capture_resume_state = INITIAL_SCAN;
  /* USER CODE END 1 */

  /* MCU Configuration--------------------------------------------------------*/

  /* Reset of all peripherals, Initializes the Flash interface and the Systick. */
  HAL_Init();

  /* Configure the system clock */
  SystemClock_Config();

  /* Initialize all configured peripherals */
  MX_GPIO_Init();
  MX_TIM1_Init();
  MX_TIM3_Init();
  MX_USART3_UART_Init();
  MX_TIM2_Init();
  MX_USART2_UART_Init();
  MX_TIM4_Init();
  /* USER CODE BEGIN 2 */
  /* TIM1 drives two cleaner motors and two water pumps at 1 kHz. */
  __HAL_TIM_SET_COMPARE(&htim1, FRONT_CLEANER_TIM_CHANNEL, 0);
  __HAL_TIM_SET_COMPARE(&htim1, FRONT_WATER_PUMP_TIM_CHANNEL, 0);
  __HAL_TIM_SET_COMPARE(&htim1, SIDE_CLEANER_TIM_CHANNEL, 0);
  __HAL_TIM_SET_COMPARE(&htim1, SIDE_WATER_PUMP_TIM_CHANNEL, 0);

  if ((HAL_TIM_PWM_Start(&htim1, FRONT_CLEANER_TIM_CHANNEL) != HAL_OK) ||
      (HAL_TIM_PWM_Start(&htim1, FRONT_WATER_PUMP_TIM_CHANNEL) != HAL_OK) ||
      (HAL_TIM_PWM_Start(&htim1, SIDE_CLEANER_TIM_CHANNEL) != HAL_OK) ||
      (HAL_TIM_PWM_Start(&htim1, SIDE_WATER_PUMP_TIM_CHANNEL) != HAL_OK))
  {
    Error_Handler();
  }
  /* TIM2 drives both MDD3A channels at 20 kHz: M1A/M1B, M2A/M2B. */
  __HAL_TIM_SET_COMPARE(&htim2, TIM_CHANNEL_1, 0);
  __HAL_TIM_SET_COMPARE(&htim2, TIM_CHANNEL_2, 0);
  __HAL_TIM_SET_COMPARE(&htim2, TIM_CHANNEL_3, 0);
  __HAL_TIM_SET_COMPARE(&htim2, TIM_CHANNEL_4, 0);
  if ((HAL_TIM_PWM_Start(&htim2, TIM_CHANNEL_1) != HAL_OK) ||
      (HAL_TIM_PWM_Start(&htim2, TIM_CHANNEL_2) != HAL_OK) ||
      (HAL_TIM_PWM_Start(&htim2, TIM_CHANNEL_3) != HAL_OK) ||
      (HAL_TIM_PWM_Start(&htim2, TIM_CHANNEL_4) != HAL_OK))
  {
    Error_Handler();
  }
  robot.front_cleaner.hw_ready = 1;
  robot.front_pump.hw_ready = 1;
  robot.side_cleaner.hw_ready = 1;
  robot.side_pump.hw_ready = 1;
  CleaningActuators_StopAll();
  if (HAL_TIM_Encoder_Start(&htim3, TIM_CHANNEL_ALL) != HAL_OK)
  {
    Error_Handler();
  }
  /* TIM4 encoder counting is started but not read; capture/section IRQs use TIM3. */
  if (HAL_TIM_Encoder_Start(&htim4, TIM_CHANNEL_ALL) != HAL_OK)
  {
    Error_Handler();
  }

  Motor_Stop();
  HAL_NVIC_ClearPendingIRQ(USART2_IRQn);
  if (HAL_UART_Receive_IT(&huart2, &robot.uart.rx_byte, 1) != HAL_OK)
  {
    Error_Handler();
  }

  /* USER CODE END 2 */

  /* Infinite loop */
  while (1)
  {

    /* USER CODE BEGIN 3 */
    if ((robot.uart.rearm_required != 0) &&
        (huart2.RxState == HAL_UART_STATE_READY))
    {
      robot.uart.rearm_required = 0;
      if (HAL_UART_Receive_IT(&huart2, &robot.uart.rx_byte, 1) != HAL_OK)
      {
        robot.uart.rearm_required = 1;
        UART_ResetMatchers();
        UART_QueueFailSafeAllOff();
        CleaningActuators_StopAll();
      }
    }

    front_cleaner_command = ACTUATOR_COMMAND_NONE;
    if (robot.front_cleaner.pending_command != ACTUATOR_COMMAND_NONE)
    {
      front_cleaner_command =
          Actuator_TakePendingCommand(&robot.front_cleaner);
    }
    if (front_cleaner_command == ACTUATOR_COMMAND_OFF)
    {
      Front_Cleaner_Stop();
    }
    else if ((front_cleaner_command ==
              ACTUATOR_COMMAND_CLEANER_PWM_33_3) ||
             (front_cleaner_command ==
              ACTUATOR_COMMAND_CLEANER_PWM_55_6))
    {
      if (Actuator_ControlIsAllowed() != 0)
      {
        robot.front_cleaner.last_on_tick = (int)HAL_GetTick();
        if (front_cleaner_command == ACTUATOR_COMMAND_CLEANER_PWM_55_6)
        {
          Front_Cleaner_Run(DC_MOTOR_PWM_DUTY_55_6);
        }
        else
        {
          Front_Cleaner_Run(DC_MOTOR_PWM_DUTY_33_3);
        }
      }
      else
      {
        Front_Cleaner_Stop();
      }
    }

    front_pump_command = ACTUATOR_COMMAND_NONE;
    if (robot.front_pump.pending_command != ACTUATOR_COMMAND_NONE)
    {
      front_pump_command = Actuator_TakePendingCommand(&robot.front_pump);
    }
    if (front_pump_command == ACTUATOR_COMMAND_OFF)
    {
      Front_Pump_Stop();
    }
    else if (front_pump_command == ACTUATOR_COMMAND_ON)
    {
      if (Actuator_ControlIsAllowed() != 0)
      {
        robot.front_pump.last_on_tick = (int)HAL_GetTick();
        if (robot.front_pump.active == 0)
        {
          Front_Pump_Start();
        }
      }
      else
      {
        Front_Pump_Stop();
      }
    }

    side_cleaner_command = ACTUATOR_COMMAND_NONE;
    if (robot.side_cleaner.pending_command != ACTUATOR_COMMAND_NONE)
    {
      side_cleaner_command =
          Actuator_TakePendingCommand(&robot.side_cleaner);
    }
    if (side_cleaner_command == ACTUATOR_COMMAND_OFF)
    {
      Side_Cleaner_Stop();
    }
    else if ((side_cleaner_command ==
              ACTUATOR_COMMAND_CLEANER_PWM_33_3) ||
             (side_cleaner_command ==
              ACTUATOR_COMMAND_CLEANER_PWM_55_6))
    {
      if (Actuator_ControlIsAllowed() != 0)
      {
        robot.side_cleaner.last_on_tick = (int)HAL_GetTick();
        if (side_cleaner_command == ACTUATOR_COMMAND_CLEANER_PWM_55_6)
        {
          Side_Cleaner_Run(DC_MOTOR_PWM_DUTY_55_6);
        }
        else
        {
          Side_Cleaner_Run(DC_MOTOR_PWM_DUTY_33_3);
        }
      }
      else
      {
        Side_Cleaner_Stop();
      }
    }

    side_pump_command = ACTUATOR_COMMAND_NONE;
    if (robot.side_pump.pending_command != ACTUATOR_COMMAND_NONE)
    {
      side_pump_command = Actuator_TakePendingCommand(&robot.side_pump);
    }
    if (side_pump_command == ACTUATOR_COMMAND_OFF)
    {
      Side_Pump_Stop();
    }
    else if (side_pump_command == ACTUATOR_COMMAND_ON)
    {
      if (Actuator_ControlIsAllowed() != 0)
      {
        robot.side_pump.last_on_tick = (int)HAL_GetTick();
        if (robot.side_pump.active == 0)
        {
          Side_Pump_Start();
        }
      }
      else
      {
        Side_Pump_Stop();
      }
    }

    if ((robot.front_cleaner.active != 0) &&
        ((Actuator_ControlIsAllowed() == 0) ||
         ((uint32_t)(HAL_GetTick() -
                     (uint32_t)robot.front_cleaner.last_on_tick) >=
          CLEANER_COMMAND_TIMEOUT_MS)))
    {
      Front_Cleaner_Stop();
    }

    if ((robot.front_pump.active != 0) &&
        ((Actuator_ControlIsAllowed() == 0) ||
         ((uint32_t)(HAL_GetTick() -
                     (uint32_t)robot.front_pump.last_on_tick) >=
          PUMP_COMMAND_TIMEOUT_MS)))
    {
      Front_Pump_Stop();
    }

    if ((robot.side_cleaner.active != 0) &&
        ((Actuator_ControlIsAllowed() == 0) ||
         ((uint32_t)(HAL_GetTick() -
                     (uint32_t)robot.side_cleaner.last_on_tick) >=
          CLEANER_COMMAND_TIMEOUT_MS)))
    {
      Side_Cleaner_Stop();
    }

    if ((robot.side_pump.active != 0) &&
        ((Actuator_ControlIsAllowed() == 0) ||
         ((uint32_t)(HAL_GetTick() -
                     (uint32_t)robot.side_pump.last_on_tick) >=
          PUMP_COMMAND_TIMEOUT_MS)))
    {
      Side_Pump_Stop();
    }

    Mission_Update();
  }
  /* USER CODE END 3 */
}

void SystemClock_Config(void)
{
  RCC_OscInitTypeDef RCC_OscInitStruct = {0};
  RCC_ClkInitTypeDef RCC_ClkInitStruct = {0};

  /** Initializes the RCC Oscillators according to the specified parameters
  * in the RCC_OscInitTypeDef structure.
  */
  RCC_OscInitStruct.OscillatorType = RCC_OSCILLATORTYPE_HSE;
  RCC_OscInitStruct.HSEState = RCC_HSE_BYPASS;
  RCC_OscInitStruct.HSEPredivValue = RCC_HSE_PREDIV_DIV1;
  RCC_OscInitStruct.HSIState = RCC_HSI_ON;
  RCC_OscInitStruct.PLL.PLLState = RCC_PLL_ON;
  RCC_OscInitStruct.PLL.PLLSource = RCC_PLLSOURCE_HSE;
  RCC_OscInitStruct.PLL.PLLMUL = RCC_PLL_MUL9;
  if (HAL_RCC_OscConfig(&RCC_OscInitStruct) != HAL_OK)
  {
    Error_Handler();
  }

  /** Initializes the CPU, AHB and APB buses clocks
  */
  RCC_ClkInitStruct.ClockType = RCC_CLOCKTYPE_HCLK|RCC_CLOCKTYPE_SYSCLK
                              |RCC_CLOCKTYPE_PCLK1|RCC_CLOCKTYPE_PCLK2;
  RCC_ClkInitStruct.SYSCLKSource = RCC_SYSCLKSOURCE_PLLCLK;
  RCC_ClkInitStruct.AHBCLKDivider = RCC_SYSCLK_DIV1;
  RCC_ClkInitStruct.APB1CLKDivider = RCC_HCLK_DIV2;
  RCC_ClkInitStruct.APB2CLKDivider = RCC_HCLK_DIV1;

  if (HAL_RCC_ClockConfig(&RCC_ClkInitStruct, FLASH_LATENCY_2) != HAL_OK)
  {
    Error_Handler();
  }

  /** Enables the Clock Security System
  */
  HAL_RCC_EnableCSS();
}

static void MX_TIM1_Init(void)
{

  TIM_ClockConfigTypeDef sClockSourceConfig = {0};
  TIM_MasterConfigTypeDef sMasterConfig = {0};
  TIM_OC_InitTypeDef sConfigOC = {0};
  TIM_BreakDeadTimeConfigTypeDef sBreakDeadTimeConfig = {0};

  htim1.Instance = TIM1;
  htim1.Init.Prescaler = 19;
  htim1.Init.CounterMode = TIM_COUNTERMODE_UP;
  htim1.Init.Period = 3599;
  htim1.Init.ClockDivision = TIM_CLOCKDIVISION_DIV1;
  htim1.Init.RepetitionCounter = 0;
  htim1.Init.AutoReloadPreload = TIM_AUTORELOAD_PRELOAD_DISABLE;
  if (HAL_TIM_Base_Init(&htim1) != HAL_OK)
  {
    Error_Handler();
  }
  sClockSourceConfig.ClockSource = TIM_CLOCKSOURCE_INTERNAL;
  if (HAL_TIM_ConfigClockSource(&htim1, &sClockSourceConfig) != HAL_OK)
  {
    Error_Handler();
  }
  if (HAL_TIM_PWM_Init(&htim1) != HAL_OK)
  {
    Error_Handler();
  }
  sMasterConfig.MasterOutputTrigger = TIM_TRGO_RESET;
  sMasterConfig.MasterSlaveMode = TIM_MASTERSLAVEMODE_DISABLE;
  if (HAL_TIMEx_MasterConfigSynchronization(&htim1, &sMasterConfig) != HAL_OK)
  {
    Error_Handler();
  }
  sConfigOC.OCMode = TIM_OCMODE_PWM1;
  sConfigOC.Pulse = 0;
  sConfigOC.OCPolarity = TIM_OCPOLARITY_HIGH;
  sConfigOC.OCNPolarity = TIM_OCNPOLARITY_HIGH;
  sConfigOC.OCFastMode = TIM_OCFAST_DISABLE;
  sConfigOC.OCIdleState = TIM_OCIDLESTATE_RESET;
  sConfigOC.OCNIdleState = TIM_OCNIDLESTATE_RESET;
  if (HAL_TIM_PWM_ConfigChannel(&htim1, &sConfigOC, TIM_CHANNEL_1) != HAL_OK)
  {
    Error_Handler();
  }
  if (HAL_TIM_PWM_ConfigChannel(&htim1, &sConfigOC, TIM_CHANNEL_2) != HAL_OK)
  {
    Error_Handler();
  }
  if (HAL_TIM_PWM_ConfigChannel(&htim1, &sConfigOC, TIM_CHANNEL_3) != HAL_OK)
  {
    Error_Handler();
  }
  if (HAL_TIM_PWM_ConfigChannel(&htim1, &sConfigOC, TIM_CHANNEL_4) != HAL_OK)
  {
    Error_Handler();
  }
  sBreakDeadTimeConfig.OffStateRunMode = TIM_OSSR_DISABLE;
  sBreakDeadTimeConfig.OffStateIDLEMode = TIM_OSSI_DISABLE;
  sBreakDeadTimeConfig.LockLevel = TIM_LOCKLEVEL_OFF;
  sBreakDeadTimeConfig.DeadTime = 0;
  sBreakDeadTimeConfig.BreakState = TIM_BREAK_DISABLE;
  sBreakDeadTimeConfig.BreakPolarity = TIM_BREAKPOLARITY_HIGH;
  sBreakDeadTimeConfig.AutomaticOutput = TIM_AUTOMATICOUTPUT_DISABLE;
  if (HAL_TIMEx_ConfigBreakDeadTime(&htim1, &sBreakDeadTimeConfig) != HAL_OK)
  {
    Error_Handler();
  }
  HAL_TIM_MspPostInit(&htim1);

}

static void MX_TIM2_Init(void)
{

  TIM_ClockConfigTypeDef sClockSourceConfig = {0};
  TIM_MasterConfigTypeDef sMasterConfig = {0};
  TIM_OC_InitTypeDef sConfigOC = {0};

  htim2.Instance = TIM2;
  htim2.Init.Prescaler = 0;
  htim2.Init.CounterMode = TIM_COUNTERMODE_UP;
  htim2.Init.Period = 3599;
  htim2.Init.ClockDivision = TIM_CLOCKDIVISION_DIV1;
  htim2.Init.AutoReloadPreload = TIM_AUTORELOAD_PRELOAD_DISABLE;
  if (HAL_TIM_Base_Init(&htim2) != HAL_OK)
  {
    Error_Handler();
  }
  sClockSourceConfig.ClockSource = TIM_CLOCKSOURCE_INTERNAL;
  if (HAL_TIM_ConfigClockSource(&htim2, &sClockSourceConfig) != HAL_OK)
  {
    Error_Handler();
  }
  if (HAL_TIM_PWM_Init(&htim2) != HAL_OK)
  {
    Error_Handler();
  }
  sMasterConfig.MasterOutputTrigger = TIM_TRGO_RESET;
  sMasterConfig.MasterSlaveMode = TIM_MASTERSLAVEMODE_DISABLE;
  if (HAL_TIMEx_MasterConfigSynchronization(&htim2, &sMasterConfig) != HAL_OK)
  {
    Error_Handler();
  }
  sConfigOC.OCMode = TIM_OCMODE_PWM1;
  sConfigOC.Pulse = 0;
  sConfigOC.OCPolarity = TIM_OCPOLARITY_HIGH;
  sConfigOC.OCFastMode = TIM_OCFAST_DISABLE;
  if (HAL_TIM_PWM_ConfigChannel(&htim2, &sConfigOC, TIM_CHANNEL_1) != HAL_OK)
  {
    Error_Handler();
  }
  if (HAL_TIM_PWM_ConfigChannel(&htim2, &sConfigOC, TIM_CHANNEL_2) != HAL_OK)
  {
    Error_Handler();
  }
  if (HAL_TIM_PWM_ConfigChannel(&htim2, &sConfigOC, TIM_CHANNEL_3) != HAL_OK)
  {
    Error_Handler();
  }
  if (HAL_TIM_PWM_ConfigChannel(&htim2, &sConfigOC, TIM_CHANNEL_4) != HAL_OK)
  {
    Error_Handler();
  }
  HAL_TIM_MspPostInit(&htim2);

}

static void MX_TIM3_Init(void)
{

  TIM_Encoder_InitTypeDef sConfig = {0};
  TIM_MasterConfigTypeDef sMasterConfig = {0};

  htim3.Instance = TIM3;
  htim3.Init.Prescaler = 0;
  htim3.Init.CounterMode = TIM_COUNTERMODE_UP;
  htim3.Init.Period = 600;
  htim3.Init.ClockDivision = TIM_CLOCKDIVISION_DIV1;
  htim3.Init.AutoReloadPreload = TIM_AUTORELOAD_PRELOAD_DISABLE;
  sConfig.EncoderMode = TIM_ENCODERMODE_TI1;
  sConfig.IC1Polarity = TIM_ICPOLARITY_RISING;
  sConfig.IC1Selection = TIM_ICSELECTION_DIRECTTI;
  sConfig.IC1Prescaler = TIM_ICPSC_DIV1;
  sConfig.IC1Filter = 4;
  sConfig.IC2Polarity = TIM_ICPOLARITY_RISING;
  sConfig.IC2Selection = TIM_ICSELECTION_DIRECTTI;
  sConfig.IC2Prescaler = TIM_ICPSC_DIV1;
  sConfig.IC2Filter = 4;
  if (HAL_TIM_Encoder_Init(&htim3, &sConfig) != HAL_OK)
  {
    Error_Handler();
  }
  sMasterConfig.MasterOutputTrigger = TIM_TRGO_RESET;
  sMasterConfig.MasterSlaveMode = TIM_MASTERSLAVEMODE_DISABLE;
  if (HAL_TIMEx_MasterConfigSynchronization(&htim3, &sMasterConfig) != HAL_OK)
  {
    Error_Handler();
  }

}

static void MX_TIM4_Init(void)
{

  TIM_Encoder_InitTypeDef sConfig = {0};
  TIM_MasterConfigTypeDef sMasterConfig = {0};

  htim4.Instance = TIM4;
  htim4.Init.Prescaler = 0;
  htim4.Init.CounterMode = TIM_COUNTERMODE_UP;
  htim4.Init.Period = 600;
  htim4.Init.ClockDivision = TIM_CLOCKDIVISION_DIV1;
  htim4.Init.AutoReloadPreload = TIM_AUTORELOAD_PRELOAD_DISABLE;
  sConfig.EncoderMode = TIM_ENCODERMODE_TI12;
  sConfig.IC1Polarity = TIM_ICPOLARITY_RISING;
  sConfig.IC1Selection = TIM_ICSELECTION_DIRECTTI;
  sConfig.IC1Prescaler = TIM_ICPSC_DIV1;
  sConfig.IC1Filter = 4;
  sConfig.IC2Polarity = TIM_ICPOLARITY_RISING;
  sConfig.IC2Selection = TIM_ICSELECTION_DIRECTTI;
  sConfig.IC2Prescaler = TIM_ICPSC_DIV1;
  sConfig.IC2Filter = 4;
  if (HAL_TIM_Encoder_Init(&htim4, &sConfig) != HAL_OK)
  {
    Error_Handler();
  }
  sMasterConfig.MasterOutputTrigger = TIM_TRGO_RESET;
  sMasterConfig.MasterSlaveMode = TIM_MASTERSLAVEMODE_DISABLE;
  if (HAL_TIMEx_MasterConfigSynchronization(&htim4, &sMasterConfig) != HAL_OK)
  {
    Error_Handler();
  }

}

static void MX_USART2_UART_Init(void)
{

  huart2.Instance = USART2;
  huart2.Init.BaudRate = 115200;
  huart2.Init.WordLength = UART_WORDLENGTH_8B;
  huart2.Init.StopBits = UART_STOPBITS_1;
  huart2.Init.Parity = UART_PARITY_NONE;
  huart2.Init.Mode = UART_MODE_TX_RX;
  huart2.Init.HwFlowCtl = UART_HWCONTROL_NONE;
  huart2.Init.OverSampling = UART_OVERSAMPLING_16;
  if (HAL_UART_Init(&huart2) != HAL_OK)
  {
    Error_Handler();
  }

}

static void MX_USART3_UART_Init(void)
{

  huart3.Instance = USART3;
  huart3.Init.BaudRate = 115200;
  huart3.Init.WordLength = UART_WORDLENGTH_8B;
  huart3.Init.StopBits = UART_STOPBITS_1;
  huart3.Init.Parity = UART_PARITY_NONE;
  huart3.Init.Mode = UART_MODE_TX_RX;
  huart3.Init.HwFlowCtl = UART_HWCONTROL_NONE;
  huart3.Init.OverSampling = UART_OVERSAMPLING_16;
  if (HAL_UART_Init(&huart3) != HAL_OK)
  {
    Error_Handler();
  }

}

static void MX_GPIO_Init(void)
{
  GPIO_InitTypeDef GPIO_InitStruct = {0};

  /* GPIO Ports Clock Enable */
  __HAL_RCC_GPIOC_CLK_ENABLE();
  __HAL_RCC_GPIOD_CLK_ENABLE();
  __HAL_RCC_GPIOA_CLK_ENABLE();
  __HAL_RCC_GPIOB_CLK_ENABLE();

  /*Configure GPIO pin Output Level */
  HAL_GPIO_WritePin(GPIOC, GPIO_PIN_13|GPIO_PIN_14|GPIO_PIN_8|GPIO_PIN_9, GPIO_PIN_RESET);

  /*Configure GPIO pin Output Level */
  HAL_GPIO_WritePin(GPIOA, GPIO_PIN_5|GPIO_PIN_6, GPIO_PIN_RESET);

  /*Configure GPIO pin Output Level */
  HAL_GPIO_WritePin(GPIOB, GPIO_PIN_13|GPIO_PIN_14, GPIO_PIN_RESET);

  /*Configure GPIO pins : PC13 PC14 PC8 PC9 */
  GPIO_InitStruct.Pin = GPIO_PIN_13|GPIO_PIN_14|GPIO_PIN_8|GPIO_PIN_9;
  GPIO_InitStruct.Mode = GPIO_MODE_OUTPUT_PP;
  GPIO_InitStruct.Pull = GPIO_NOPULL;
  GPIO_InitStruct.Speed = GPIO_SPEED_FREQ_LOW;
  HAL_GPIO_Init(GPIOC, &GPIO_InitStruct);

  /*Configure GPIO pins : PA5 PA6 */
  GPIO_InitStruct.Pin = GPIO_PIN_5|GPIO_PIN_6;
  GPIO_InitStruct.Mode = GPIO_MODE_OUTPUT_PP;
  GPIO_InitStruct.Pull = GPIO_NOPULL;
  GPIO_InitStruct.Speed = GPIO_SPEED_FREQ_LOW;
  HAL_GPIO_Init(GPIOA, &GPIO_InitStruct);

  /*Configure GPIO pins : PB13 PB14 */
  GPIO_InitStruct.Pin = GPIO_PIN_13|GPIO_PIN_14;
  GPIO_InitStruct.Mode = GPIO_MODE_OUTPUT_PP;
  GPIO_InitStruct.Pull = GPIO_NOPULL;
  GPIO_InitStruct.Speed = GPIO_SPEED_FREQ_LOW;
  HAL_GPIO_Init(GPIOB, &GPIO_InitStruct);

}

/* USER CODE BEGIN 4 */
void HAL_UART_RxCpltCallback(UART_HandleTypeDef *huart)
{
  if (huart->Instance == USART2)
  {
    if (huart->ErrorCode == HAL_UART_ERROR_NONE)
    {
      UART_ParseByte(robot.uart.rx_byte);

      if (HAL_UART_Receive_IT(&huart2, &robot.uart.rx_byte, 1) != HAL_OK)
      {
        robot.uart.rearm_required = 1;
        UART_QueueFailSafeAllOff();
      }
      else
      {
        robot.uart.rearm_required = 0;
      }
    }
    else
    {
      UART_ResetMatchers();
      robot.uart.rearm_required = 1;
      UART_QueueFailSafeAllOff();
    }
  }
}

void HAL_UART_ErrorCallback(UART_HandleTypeDef *huart)
{
  if (huart->Instance == USART2)
  {
    UART_ResetMatchers();
    UART_QueueFailSafeAllOff();
    if (huart->RxState == HAL_UART_STATE_READY)
    {
      robot.uart.rearm_required = 1;
    }
  }
}

void HAL_TIM_PeriodElapsedCallback(TIM_HandleTypeDef *htim)
{
  if (htim->Instance == TIM3)
  {
    if ((robot.mission.state == REALTIME_CLEANING) ||
        (robot.mission.state == RESCAN_RETURN))
    {
      /* Continuous passes keep PWM running through ARR events 1 to 3. */
      robot.encoder.limit++;
      if (robot.encoder.limit >= ENCODER_SECTION_LIMIT)
      {
        __HAL_TIM_DISABLE_IT(&htim3, TIM_IT_UPDATE);
        Motor_Stop();
        if (robot.mission.state == REALTIME_CLEANING)
        {
          CleaningActuators_StopAll();
        }
        robot.encoder.event = 1;
      }
    }
    else if ((robot.mission.state == INITIAL_SCAN) ||
             (robot.mission.state == RETURNING) ||
             (robot.mission.state == RESCAN))
    {
      /* Stop at each section; main handles the state transition and UART. */
      __HAL_TIM_DISABLE_IT(&htim3, TIM_IT_UPDATE);
      Motor_Stop();
      robot.encoder.event = 1;
    }
    else
    {
      __HAL_TIM_DISABLE_IT(&htim3, TIM_IT_UPDATE);
      Motor_Stop();
    }
  }
}

/* USER CODE END 4 */

void Error_Handler(void)
{
  /* USER CODE BEGIN Error_Handler_Debug */
  /* User can add his own implementation to report the HAL error return state */
  __disable_irq();
  robot.mission.state = MISSION_FAULT;
  robot.encoder.motor_direction = MOTOR_DIRECTION_STOPPED;
  if (htim2.Instance == TIM2)
  {
    Motor_Stop();
  }
  CleaningActuators_StopAll();
  while (1)
  {
  }
  /* USER CODE END Error_Handler_Debug */
}
